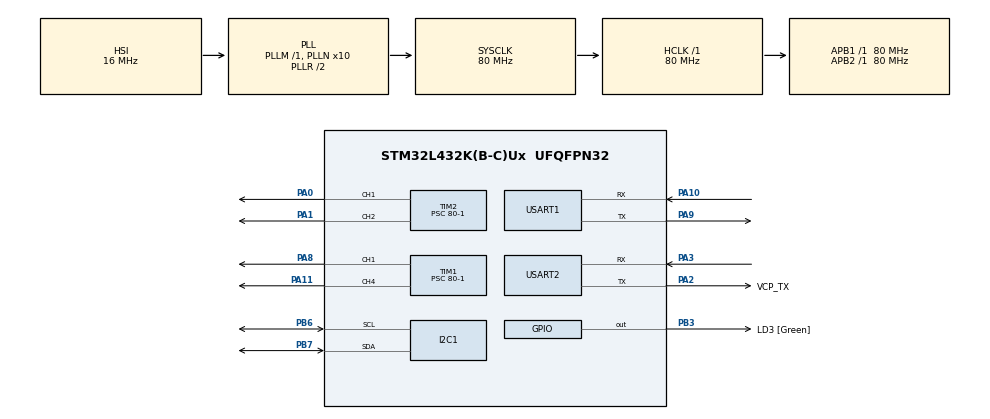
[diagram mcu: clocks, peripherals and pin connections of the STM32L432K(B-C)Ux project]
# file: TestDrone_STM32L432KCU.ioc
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I2C1.Timing=0x10D19CE4
Mcu.Family=STM32L4
Mcu.Name=STM32L432K(B-C)Ux
Mcu.Package=UFQFPN32
NVIC.PriorityGroup=NVIC_PRIORITYGROUP_4
NVIC.TIM6_DAC_IRQn=true\:15\:0\:false\:false\:true\:false\:true\:true
NVIC.TimeBase=TIM6_DAC_IRQn
NVIC.TimeBaseIP=TIM6
NVIC.USART1_IRQn=true\:1\:0\:true\:false\:true\:true\:true\:true
NVIC.USART2_IRQn=true\:0\:0\:false\:false\:true\:true\:true\:true
PA0.Signal=S_TIM2_CH1
PA1.Signal=S_TIM2_CH2
PA10.Mode=Asynchronous
PA10.Signal=USART1_RX
PA11.Signal=S_TIM1_CH4
PA13\ (JTMS-SWDIO).GPIO_Label=SWDIO
PA13\ (JTMS-SWDIO).Mode=Serial_Wire
PA13\ (JTMS-SWDIO).Signal=SYS_JTMS-SWDIO
PA14\ (JTCK-SWCLK).GPIO_Label=SWCLK
PA14\ (JTCK-SWCLK).Mode=Serial_Wire
PA14\ (JTCK-SWCLK).Signal=SYS_JTCK-SWCLK
PA2.GPIO_Label=VCP_TX
PA2.Mode=Asynchronous
PA2.Signal=USART2_TX
PA3.Mode=Asynchronous
PA3.Signal=USART2_RX
PA8.Signal=S_TIM1_CH1
PA9.Mode=Asynchronous
PA9.Signal=USART1_TX
PB3\ (JTDO-TRACESWO).GPIO_Label=LD3 [Green]
PB3\ (JTDO-TRACESWO).Signal=GPIO_Output
PB6.Mode=I2C
PB6.Signal=I2C1_SCL
PB7.Mode=I2C
PB7.Signal=I2C1_SDA
PC14-OSC32_IN\ (PC14).Signal=RCC_OSC32_IN
PC15-OSC32_OUT\ (PC15).Signal=RCC_OSC32_OUT
ProjectManager.HeapSize=0x200
ProjectManager.StackSize=0x400
ProjectManager.TargetToolchain=STM32CubeIDE
RCC.ADCFreq_Value=64000000
RCC.AHBFreq_Value=80000000
RCC.APB1Freq_Value=80000000
RCC.APB1TimFreq_Value=80000000
RCC.APB2Freq_Value=80000000
RCC.APB2TimFreq_Value=80000000
RCC.CortexFreq_Value=80000000
RCC.HCLKFreq_Value=80000000
RCC.HSE_VALUE=8000000
RCC.HSI16_VALUE=16000000
RCC.HSI48_VALUE=48000000
RCC.HSI_VALUE=16000000
RCC.LSE_VALUE=32768
RCC.MSI_VALUE=4000000
RCC.PLLMUL=RCC_PLLMUL_4
RCC.PLLN=10
RCC.PLLSourceVirtual=RCC_PLLSOURCE_HSI
RCC.SYSCLKFreq_VALUE=80000000
RCC.SYSCLKSource=RCC_SYSCLKSOURCE_PLLCLK
RCC.USBFreq_Value=64000000
RCC.VCOOutputFreq_Value=160000000
SH.S_TIM1_CH1.0=TIM1_CH1,PWM Generation1 CH1
SH.S_TIM1_CH4.0=TIM1_CH4,PWM Generation4 CH4
SH.S_TIM2_CH1.0=TIM2_CH1,PWM Generation1 CH1
SH.S_TIM2_CH2.0=TIM2_CH2,PWM Generation2 CH2
TIM1.Channel-PWM\ Generation1\ CH1=TIM_CHANNEL_1
TIM1.Channel-PWM\ Generation4\ CH4=TIM_CHANNEL_4
TIM1.Period=20000-1
TIM1.Prescaler=80-1
TIM2.Channel-PWM\ Generation1\ CH1=TIM_CHANNEL_1
TIM2.Channel-PWM\ Generation2\ CH2=TIM_CHANNEL_2
TIM2.Period=20000-1
TIM2.Prescaler=80-1
USART1.VirtualMode-Asynchronous=VM_ASYNC
USART2.VirtualMode-Asynchronous=VM_ASYNC
VP_SYS_VS_tim6.Mode=TIM6
VP_TIM1_VS_ClockSourceINT.Mode=Internal
VP_TIM2_VS_ClockSourceINT.Mode=Internal
board=NUCLEO-L432KC

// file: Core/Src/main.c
/* USER CODE BEGIN Header */
/**
 ******************************************************************************
 * @file           : main.c
 * @brief          : Main program body
 ******************************************************************************
 * @attention
 *
 * Copyright (c) 2025 STMicroelectronics.
 * All rights reserved.
 *
 * This software is licensed under terms that can be found in the LICENSE file
 * in the root directory of this software component.
 * If no LICENSE file comes with this software, it is provided AS-IS.
 *
 ******************************************************************************
 */
/* USER CODE END Header */
#include "main.h"

/* USER CODE BEGIN Includes */
#include "MPU6050.h"
#include "LowPassFilter.h"
#include "KalmanRollPitch.h"
#include "PIController.h"
#include "defines.h"
#include "PWMCTRL.h"
/* USER CODE END Includes */

I2C_HandleTypeDef hi2c1;

TIM_HandleTypeDef htim1;
TIM_HandleTypeDef htim2;

UART_HandleTypeDef huart1;
UART_HandleTypeDef huart2;

/* USER CODE BEGIN PV */

/* Peripherals */
MPU6050_t mpu6050;

/* Filters
 /* Low-pass filters */
LPFTwoPole lpf_acc_x, lpf_acc_y, lpf_acc_z;
LPFTwoPole lpf_gyr_x, lpf_gyr_y, lpf_gyr_z;

/* State estimation */
KalmanRollPitch ekf;

/* Controllers */
PIController ctrl_roll;
PIController ctrl_pitch;

/* ESC/Motor control */

ESC_CONF motors;
volatile uint8_t motors_armed = 0;  // Safety flag

/* Timing variables */
uint32_t time_now = 0;
uint32_t time_prev_loop = 0;
uint32_t time_prev_led = 0;

/* --- Sensor Data --- */
float acc_raw[3] = { 0 };
float acc_filtered[3] = { 0 };
float gyr_raw[3] = { 0 };
float gyr_filtered[3] = { 0 };

/* --- Angles & Control --- */
float roll_est = 0.0f;       // Estimated roll (rad)
float pitch_est = 0.0f;      // Estimated pitch (rad)

float roll_setpoint = 0.0f;  // Desired roll (rad)
float pitch_setpoint = 0.0f;

float ctrl_roll_output = 0.0f;
float ctrl_pitch_output = 0.0f;

/* --- Commands (UART/Bluetooth/Zigbee) --- */

/* (Pilot) */
#define CMD_BUFFER_SIZE 10
char cmd_buffer[CMD_BUFFER_SIZE];  // Buffer to store incoming command characters
uint8_t cmd_index = 0;             // Index to keep track of buffer position

volatile int16_t throttle_cmd = 0;
volatile uint8_t rx_pilot_byte;       // Byte received from Phone/PC
volatile float target_pitch = 0.0f;   // Desired Pitch Angle (Radians)
volatile float target_roll = 0.0f;    // Desired Roll Angle (Radians)

/* Zigbee (Agri Sensor) */
#define ZIGBEE_BUFFER_SIZE 128
volatile uint8_t rx_zigbee_byte;      // Byte received from Sensor
char zigbee_buffer[ZIGBEE_BUFFER_SIZE];      // Buffer to store the full message
volatile uint8_t zigbee_idx = 0;      // Buffer index
volatile uint8_t zigbee_msg_ready = 0;

/* USER CODE END PV */

void SystemClock_Config(void);
static void MX_GPIO_Init(void);
static void MX_I2C1_Init(void);
static void MX_TIM1_Init(void);
static void MX_USART2_UART_Init(void);
static void MX_TIM2_Init(void);
static void MX_USART1_UART_Init(void);
/* USER CODE BEGIN PFP */

void Modules_Init(void);        // Initialize all sensors and libraries
void Process_Loop_100Hz(void);  // Main Flight Control Algorithm
void Debug_Print(void);         // Send Telemetry via UART
void Send_Web_Log(void);

/* USER CODE END PFP */

int main(void)
{

  /* MCU Configuration--------------------------------------------------------*/

  /* Reset of all peripherals, Initializes the Flash interface and the Systick. */
  HAL_Init();

  /* Configure the system clock */
  SystemClock_Config();

  /* Initialize all configured peripherals */
  MX_GPIO_Init();
  MX_I2C1_Init();
  MX_TIM1_Init();
  MX_USART2_UART_Init();
  MX_TIM2_Init();
  MX_USART1_UART_Init();
  /* USER CODE BEGIN 2 */
	printf("\r\n==================================\r\n");
	printf("   STM32 FLIGHT CONTROLLER V1.0   \r\n");
	printf("==================================\r\n");

	// Wait for sensors to power up fully
	HAL_Delay(500);

	/* Initialize Flight Modules */
	Modules_Init();
	/* Initialize Motors */
	ESC_Init(&motors);

	// WARNING: Calibration generates high PWM. Only use when needed.(First time !)
	//ESC_Calibrate(&motors);

	printf("System Ready. Waiting for ARM command ('A')...\r\n");

	/* Start listening */
	HAL_UART_Receive_IT(&huart2, (uint8_t*) &rx_pilot_byte, 1);  // Pilot (BLE)
	HAL_UART_Receive_IT(&huart1, (uint8_t*) &rx_zigbee_byte, 1); // Zigbee

	/* Reset Timing Counters */
	time_prev_loop = HAL_GetTick();
	time_prev_led = HAL_GetTick();
  /* USER CODE END 2 */

  /* Infinite loop */
  /* USER CODE BEGIN WHILE */
	while (1) {
		/* USER CODE BEGIN 3 */
		/* Forward the raw data received to Raspberry Pi (UART2)
		 (Expected format for Raspberry Pi: "CH1=%d CH2=%d CH3=%d Temp_DS1621=%.2f C\n")
		 */
		if (zigbee_msg_ready) {

			zigbee_msg_ready = 0;

			char local_copy[ZIGBEE_BUFFER_SIZE];
			strcpy(local_copy, zigbee_buffer);
			zigbee_idx = 0;

			HAL_UART_Transmit(&huart2, (uint8_t*) local_copy,
					strlen(local_copy), 100);
		}
		time_now = HAL_GetTick();
		//--- CONTROL LOOP (100Hz / 10ms) ---  0R 4ms TESTED!!!
		if (time_now - time_prev_loop >= SAMPLE_TIME_CTRL_MS) {
			time_prev_loop = time_now;
			Process_Loop_100Hz();
		}

		// TELEMETRY LOOP (1Hz / 1000ms): SAMPLE_TIME_LED_MS / or (5Hz / 200ms):TELEMETRY_DELAY_MS
		if (time_now - time_prev_led >= TELEMETRY_DELAY_MS) {
			time_prev_led = time_now;
			// Blink LED to indicate "Alive"*******************************VERIFY THIS
			HAL_GPIO_TogglePin(LD3_GPIO_Port, LD3_Pin);
			//Debug_Print();
			Send_Web_Log();
		}
		/* USER CODE END 3 */
	}
    /* USER CODE END WHILE */

}

void SystemClock_Config(void)
{
  RCC_OscInitTypeDef RCC_OscInitStruct = {0};
  RCC_ClkInitTypeDef RCC_ClkInitStruct = {0};

  /** Configure the main internal regulator output voltage
  */
  if (HAL_PWREx_ControlVoltageScaling(PWR_REGULATOR_VOLTAGE_SCALE1) != HAL_OK)
  {
    Error_Handler();
  }

  /** Initializes the RCC Oscillators according to the specified parameters
  * in the RCC_OscInitTypeDef structure.
  */
  RCC_OscInitStruct.OscillatorType = RCC_OSCILLATORTYPE_HSI;
  RCC_OscInitStruct.HSIState = RCC_HSI_ON;
  RCC_OscInitStruct.HSICalibrationValue = RCC_HSICALIBRATION_DEFAULT;
  RCC_OscInitStruct.PLL.PLLState = RCC_PLL_ON;
  RCC_OscInitStruct.PLL.PLLSource = RCC_PLLSOURCE_HSI;
  RCC_OscInitStruct.PLL.PLLM = 1;
  RCC_OscInitStruct.PLL.PLLN = 10;
  RCC_OscInitStruct.PLL.PLLP = RCC_PLLP_DIV7;
  RCC_OscInitStruct.PLL.PLLQ = RCC_PLLQ_DIV2;
  RCC_OscInitStruct.PLL.PLLR = RCC_PLLR_DIV2;
  if (HAL_RCC_OscConfig(&RCC_OscInitStruct) != HAL_OK)
  {
    Error_Handler();
  }

  /** Initializes the CPU, AHB and APB buses clocks
  */
  RCC_ClkInitStruct.ClockType = RCC_CLOCKTYPE_HCLK|RCC_CLOCKTYPE_SYSCLK
                              |RCC_CLOCKTYPE_PCLK1|RCC_CLOCKTYPE_PCLK2;
  RCC_ClkInitStruct.SYSCLKSource = RCC_SYSCLKSOURCE_PLLCLK;
  RCC_ClkInitStruct.AHBCLKDivider = RCC_SYSCLK_DIV1;
  RCC_ClkInitStruct.APB1CLKDivider = RCC_HCLK_DIV1;
  RCC_ClkInitStruct.APB2CLKDivider = RCC_HCLK_DIV1;

  if (HAL_RCC_ClockConfig(&RCC_ClkInitStruct, FLASH_LATENCY_4) != HAL_OK)
  {
    Error_Handler();
  }
}

static void MX_I2C1_Init(void)
{

  hi2c1.Instance = I2C1;
  hi2c1.Init.Timing = 0x10D19CE4;
  hi2c1.Init.OwnAddress1 = 0;
  hi2c1.Init.AddressingMode = I2C_ADDRESSINGMODE_7BIT;
  hi2c1.Init.DualAddressMode = I2C_DUALADDRESS_DISABLE;
  hi2c1.Init.OwnAddress2 = 0;
  hi2c1.Init.OwnAddress2Masks = I2C_OA2_NOMASK;
  hi2c1.Init.GeneralCallMode = I2C_GENERALCALL_DISABLE;
  hi2c1.Init.NoStretchMode = I2C_NOSTRETCH_DISABLE;
  if (HAL_I2C_Init(&hi2c1) != HAL_OK)
  {
    Error_Handler();
  }

  /** Configure Analogue filter
  */
  if (HAL_I2CEx_ConfigAnalogFilter(&hi2c1, I2C_ANALOGFILTER_ENABLE) != HAL_OK)
  {
    Error_Handler();
  }

  /** Configure Digital filter
  */
  if (HAL_I2CEx_ConfigDigitalFilter(&hi2c1, 0) != HAL_OK)
  {
    Error_Handler();
  }

}

static void MX_TIM1_Init(void)
{

  TIM_ClockConfigTypeDef sClockSourceConfig = {0};
  TIM_MasterConfigTypeDef sMasterConfig = {0};
  TIM_OC_InitTypeDef sConfigOC = {0};
  TIM_BreakDeadTimeConfigTypeDef sBreakDeadTimeConfig = {0};

  htim1.Instance = TIM1;
  htim1.Init.Prescaler = 80-1;
  htim1.Init.CounterMode = TIM_COUNTERMODE_UP;
  htim1.Init.Period = 20000-1;
  htim1.Init.ClockDivision = TIM_CLOCKDIVISION_DIV1;
  htim1.Init.RepetitionCounter = 0;
  htim1.Init.AutoReloadPreload = TIM_AUTORELOAD_PRELOAD_DISABLE;
  if (HAL_TIM_Base_Init(&htim1) != HAL_OK)
  {
    Error_Handler();
  }
  sClockSourceConfig.ClockSource = TIM_CLOCKSOURCE_INTERNAL;
  if (HAL_TIM_ConfigClockSource(&htim1, &sClockSourceConfig) != HAL_OK)
  {
    Error_Handler();
  }
  if (HAL_TIM_PWM_Init(&htim1) != HAL_OK)
  {
    Error_Handler();
  }
  sMasterConfig.MasterOutputTrigger = TIM_TRGO_RESET;
  sMasterConfig.MasterOutputTrigger2 = TIM_TRGO2_RESET;
  sMasterConfig.MasterSlaveMode = TIM_MASTERSLAVEMODE_DISABLE;
  if (HAL_TIMEx_MasterConfigSynchronization(&htim1, &sMasterConfig) != HAL_OK)
  {
    Error_Handler();
  }
  sConfigOC.OCMode = TIM_OCMODE_PWM1;
  sConfigOC.Pulse = 0;
  sConfigOC.OCPolarity = TIM_OCPOLARITY_HIGH;
  sConfigOC.OCNPolarity = TIM_OCNPOLARITY_HIGH;
  sConfigOC.OCFastMode = TIM_OCFAST_DISABLE;
  sConfigOC.OCIdleState = TIM_OCIDLESTATE_RESET;
  sConfigOC.OCNIdleState = TIM_OCNIDLESTATE_RESET;
  if (HAL_TIM_PWM_ConfigChannel(&htim1, &sConfigOC, TIM_CHANNEL_1) != HAL_OK)
  {
    Error_Handler();
  }
  if (HAL_TIM_PWM_ConfigChannel(&htim1, &sConfigOC, TIM_CHANNEL_4) != HAL_OK)
  {
    Error_Handler();
  }
  sBreakDeadTimeConfig.OffStateRunMode = TIM_OSSR_DISABLE;
  sBreakDeadTimeConfig.OffStateIDLEMode = TIM_OSSI_DISABLE;
  sBreakDeadTimeConfig.LockLevel = TIM_LOCKLEVEL_OFF;
  sBreakDeadTimeConfig.DeadTime = 0;
  sBreakDeadTimeConfig.BreakState = TIM_BREAK_DISABLE;
  sBreakDeadTimeConfig.BreakPolarity = TIM_BREAKPOLARITY_HIGH;
  sBreakDeadTimeConfig.BreakFilter = 0;
  sBreakDeadTimeConfig.Break2State = TIM_BREAK2_DISABLE;
  sBreakDeadTimeConfig.Break2Polarity = TIM_BREAK2POLARITY_HIGH;
  sBreakDeadTimeConfig.Break2Filter = 0;
  sBreakDeadTimeConfig.AutomaticOutput = TIM_AUTOMATICOUTPUT_DISABLE;
  if (HAL_TIMEx_ConfigBreakDeadTime(&htim1, &sBreakDeadTimeConfig) != HAL_OK)
  {
    Error_Handler();
  }
  HAL_TIM_MspPostInit(&htim1);

}

static void MX_TIM2_Init(void)
{

  TIM_ClockConfigTypeDef sClockSourceConfig = {0};
  TIM_MasterConfigTypeDef sMasterConfig = {0};
  TIM_OC_InitTypeDef sConfigOC = {0};

  htim2.Instance = TIM2;
  htim2.Init.Prescaler = 80-1;
  htim2.Init.CounterMode = TIM_COUNTERMODE_UP;
  htim2.Init.Period = 20000-1;
  htim2.Init.ClockDivision = TIM_CLOCKDIVISION_DIV1;
  htim2.Init.AutoReloadPreload = TIM_AUTORELOAD_PRELOAD_DISABLE;
  if (HAL_TIM_Base_Init(&htim2) != HAL_OK)
  {
    Error_Handler();
  }
  sClockSourceConfig.ClockSource = TIM_CLOCKSOURCE_INTERNAL;
  if (HAL_TIM_ConfigClockSource(&htim2, &sClockSourceConfig) != HAL_OK)
  {
    Error_Handler();
  }
  if (HAL_TIM_PWM_Init(&htim2) != HAL_OK)
  {
    Error_Handler();
  }
  sMasterConfig.MasterOutputTrigger = TIM_TRGO_RESET;
  sMasterConfig.MasterSlaveMode = TIM_MASTERSLAVEMODE_DISABLE;
  if (HAL_TIMEx_MasterConfigSynchronization(&htim2, &sMasterConfig) != HAL_OK)
  {
    Error_Handler();
  }
  sConfigOC.OCMode = TIM_OCMODE_PWM1;
  sConfigOC.Pulse = 0;
  sConfigOC.OCPolarity = TIM_OCPOLARITY_HIGH;
  sConfigOC.OCFastMode = TIM_OCFAST_DISABLE;
  if (HAL_TIM_PWM_ConfigChannel(&htim2, &sConfigOC, TIM_CHANNEL_1) != HAL_OK)
  {
    Error_Handler();
  }
  if (HAL_TIM_PWM_ConfigChannel(&htim2, &sConfigOC, TIM_CHANNEL_2) != HAL_OK)
  {
    Error_Handler();
  }
  HAL_TIM_MspPostInit(&htim2);

}

static void MX_USART1_UART_Init(void)
{

  huart1.Instance = USART1;
  huart1.Init.BaudRate = 115200;
  huart1.Init.WordLength = UART_WORDLENGTH_8B;
  huart1.Init.StopBits = UART_STOPBITS_1;
  huart1.Init.Parity = UART_PARITY_NONE;
  huart1.Init.Mode = UART_MODE_TX_RX;
  huart1.Init.HwFlowCtl = UART_HWCONTROL_NONE;
  huart1.Init.OverSampling = UART_OVERSAMPLING_16;
  huart1.Init.OneBitSampling = UART_ONE_BIT_SAMPLE_DISABLE;
  huart1.AdvancedInit.AdvFeatureInit = UART_ADVFEATURE_NO_INIT;
  if (HAL_UART_Init(&huart1) != HAL_OK)
  {
    Error_Handler();
  }

}

static void MX_USART2_UART_Init(void)
{

  huart2.Instance = USART2;
  huart2.Init.BaudRate = 115200;
  huart2.Init.WordLength = UART_WORDLENGTH_8B;
  huart2.Init.StopBits = UART_STOPBITS_1;
  huart2.Init.Parity = UART_PARITY_NONE;
  huart2.Init.Mode = UART_MODE_TX_RX;
  huart2.Init.HwFlowCtl = UART_HWCONTROL_NONE;
  huart2.Init.OverSampling = UART_OVERSAMPLING_16;
  huart2.Init.OneBitSampling = UART_ONE_BIT_SAMPLE_DISABLE;
  huart2.AdvancedInit.AdvFeatureInit = UART_ADVFEATURE_NO_INIT;
  if (HAL_UART_Init(&huart2) != HAL_OK)
  {
    Error_Handler();
  }

}

static void MX_GPIO_Init(void)
{
  GPIO_InitTypeDef GPIO_InitStruct = {0};

  /* GPIO Ports Clock Enable */
  __HAL_RCC_GPIOC_CLK_ENABLE();
  __HAL_RCC_GPIOA_CLK_ENABLE();
  __HAL_RCC_GPIOB_CLK_ENABLE();

  /*Configure GPIO pin Output Level */
  HAL_GPIO_WritePin(LD3_GPIO_Port, LD3_Pin, GPIO_PIN_RESET);

  /*Configure GPIO pin : LD3_Pin */
  GPIO_InitStruct.Pin = LD3_Pin;
  GPIO_InitStruct.Mode = GPIO_MODE_OUTPUT_PP;
  GPIO_InitStruct.Pull = GPIO_NOPULL;
  GPIO_InitStruct.Speed = GPIO_SPEED_FREQ_LOW;
  HAL_GPIO_Init(LD3_GPIO_Port, &GPIO_InitStruct);

}

/* USER CODE BEGIN 4 */
/* USER CODE BEGIN 5 */
void Modules_Init(void) {
	// Initialize MPU6050
	if (MPU6050_Init(&hi2c1) == 0) {
		printf("MPU6050: OK\r\n");
	} else {
		printf("MPU6050: FAILED! Checking connections...\r\n");
		Error_Handler(); // Stop here if sensor fails
	}

	// Initialize Low Pass Filters
	// Accel Cutoff: 10Hz | Gyro Cutoff: 30Hz | Loop Time: 0.01s
	float dt = SAMPLE_TIME_CTRL_MS / 1000.0f;

	LPFTwoPole_Init(&lpf_acc_x, LPF_TYPE_BESSEL, LPF_ACC_CUTOFF_HZ, dt);
	LPFTwoPole_Init(&lpf_acc_y, LPF_TYPE_BESSEL, LPF_ACC_CUTOFF_HZ, dt);
	LPFTwoPole_Init(&lpf_acc_z, LPF_TYPE_BESSEL, LPF_ACC_CUTOFF_HZ, dt);

	LPFTwoPole_Init(&lpf_gyr_x, LPF_TYPE_BESSEL, LPF_GYR_CUTOFF_HZ, dt);
	LPFTwoPole_Init(&lpf_gyr_y, LPF_TYPE_BESSEL, LPF_GYR_CUTOFF_HZ, dt);
	LPFTwoPole_Init(&lpf_gyr_z, LPF_TYPE_BESSEL, LPF_GYR_CUTOFF_HZ, dt);

	// Initialize Kalman Filter
	float Q[2] = { EKF_N_GYR, EKF_N_GYR };
	float R[3] = { EKF_N_ACC, EKF_N_ACC, EKF_N_ACC };
	KalmanRollPitch_Init(&ekf, EKF_P_INIT, Q, R);

	// Initialize PID Controllers
	PI_Init(&ctrl_roll, CTRL_ROLL_P, CTRL_ROLL_I, CTRL_ROLL_LIM_MIN,
	CTRL_ROLL_LIM_MAX);
	PI_Init(&ctrl_pitch, CTRL_PITCH_P, CTRL_PITCH_I, CTRL_PITCH_LIM_MIN,
	CTRL_PITCH_LIM_MAX);

	printf("Modules Initialized.\r\n");
}

/**
 * @brief Main Flight Control Loop (Running at 100Hz)
 * Reads sensors, updates Kalman, runs PID, mixes motors.
 */
void Process_Loop_100Hz(void) {

	// SENSOR READ ---
	MPU6050_Read_Accel(&hi2c1, &mpu6050);
	MPU6050_Read_Gyro(&hi2c1, &mpu6050);

	// PRE-PROCESSING (Filtering & Conversion) ---

	// Accelerometer: Convert raw to m/s^2 (Standard Gravity = 9.81)
	acc_raw[0] = ((mpu6050.Ax - CALIB_ACC_BIAS_X) * CALIB_ACC_SCALE_X) * 9.81f;
	acc_raw[1] = ((mpu6050.Ay - CALIB_ACC_BIAS_Y) * CALIB_ACC_SCALE_Y) * 9.81f;
	acc_raw[2] = ((mpu6050.Az - CALIB_ACC_BIAS_Z) * CALIB_ACC_SCALE_Z) * 9.81f;

	acc_filtered[0] = LPFTwoPole_Update(&lpf_acc_x, acc_raw[0]);
	acc_filtered[1] = LPFTwoPole_Update(&lpf_acc_y, acc_raw[1]);
	acc_filtered[2] = LPFTwoPole_Update(&lpf_acc_z, acc_raw[2]);

	// Gyroscope: Convert Degrees/s to Radians/s
	gyr_raw[0] = mpu6050.Gx * DEG_TO_RAD;
	gyr_raw[1] = mpu6050.Gy * DEG_TO_RAD;
	gyr_raw[2] = mpu6050.Gz * DEG_TO_RAD;

	gyr_filtered[0] = LPFTwoPole_Update(&lpf_gyr_x, gyr_raw[0]);
	gyr_filtered[1] = LPFTwoPole_Update(&lpf_gyr_y, gyr_raw[1]);
	gyr_filtered[2] = LPFTwoPole_Update(&lpf_gyr_z, gyr_raw[2]);

	// ATTITUDE ESTIMATION (Kalman Filter) ---
	float dt = SAMPLE_TIME_CTRL_MS / 1000.0f; // dt = 0.01s

	// Prediction Step (Gyro Integration)
	KalmanRollPitch_Predict(&ekf, gyr_filtered, dt);

	// Update Step (Accelerometer Correction)
	// Va = 0.0f because we are hovering (no airspeed)
	KalmanRollPitch_Update(&ekf, acc_filtered, 0.0f);

	roll_est = ekf.phi;   // Current Roll (Rad)
	pitch_est = ekf.theta; // Current Pitch (Rad)

	// FLIGHT CONTROL (PID) ---

	/*// Setpoints: 0.0 means "Stay Flat"
	//roll_setpoint = 0.0f;
	//pitch_setpoint = 0.0f;*/

	// Apply the setpoints received from Bluetooth
	roll_setpoint  = target_roll;
	pitch_setpoint = target_pitch;

	ctrl_roll_output = PI_Update(&ctrl_roll, roll_setpoint, roll_est, dt);
	ctrl_pitch_output = PI_Update(&ctrl_pitch, pitch_setpoint, pitch_est, dt);

	// MOTOR MIXING & SAFETY ---

	// Convert radians to degrees for safety check
	float roll_deg = roll_est * RAD_TO_DEG;
	float pitch_deg = pitch_est * RAD_TO_DEG;

	// Safety: Emergency Stop if tilted > 45 degrees
	if (!ESC_SafetyCheck(&motors, roll_deg, pitch_deg)) {
		motors_armed = 0;
		throttle_cmd = 0;
	}

	// If Armed, calculate and send PWM
	if (motors_armed) {
		// Mix throttle and PID corrections to 4 motors
		// Yaw correction is set to 0.0f for now (handled by user manually if needed)
		ESC_UpdateCommands(&motors, throttle_cmd, ctrl_roll_output,
				ctrl_pitch_output, 0.0f);
	} else {
		// Ensure motors are OFF if not armed
		ESC_Disarm(&motors);
	}

	// Apply calculated PWM to hardware timers
	ESC_SetSpeed(&motors);
}

/**
 * @brief Prints Telemetry Data to UART
 * Called every 1 second.
 */
void Debug_Print(void)
{
    printf("\r\n===== SENSOR DATA =====\r\n");

    printf("ACC RAW en g :      X=%.2f  Y=%.2f  Z=%.2f g\r\n",
    		mpu6050.Ax, mpu6050.Ay, mpu6050.Az);
    printf("ACC RAW+Calib en m/s² : X=%.2f  Y=%.2f  Z=%.2f m/s²\r\n",
    		acc_raw[0], acc_raw[1], acc_raw[2]);
    printf("ACC FILTERED: X=%.2f  Y=%.2f  Z=%.2f m/s²\r\n",
           acc_filtered[0], acc_filtered[1], acc_filtered[2]);

    printf("GYR RAW en d/s :      X=%.2f  Y=%.2f  Z=%.2f d/s\r\n",
    		mpu6050.Gx, mpu6050.Gy, mpu6050.Gz);
    printf("GYR RAW en rad/s : X=%.2f  Y=%.2f  Z=%.2f rad/s\r\n",
        		gyr_raw[0], gyr_raw[1], gyr_raw[2]);
    printf("GYR FILTERED: X=%.2f  Y=%.2f  Z=%.2f rad/s\r\n",
           gyr_filtered[0], gyr_filtered[1], gyr_filtered[2]);

    printf("\r\n===== KALMAN ESTIMATES =====\r\n");
    printf("Roll:  %.2f°  |  Pitch: %.2f°\r\n",
           roll_est * RAD_TO_DEG,
           pitch_est * RAD_TO_DEG);

    printf("\r\n===== CONTROLLER OUTPUTS =====\r\n");
    printf("Ctrl_Roll:  %.2f  |  Ctrl_Pitch: %.2f\r\n",
           ctrl_roll_output,
           ctrl_pitch_output);

    printf("\r\n===== MOTOR COMMANDS =====\r\n");
    printf("FR: %4d  FL: %4d  RR: %4d  RL: %4d  [%s]\r\n",
               motors.FR, motors.FL, motors.RR, motors.RL,
               motors_armed ? "ARMED" : "DISARMED");
    printf("PWM RANGE: [%d - %d]\r\n", PWM_MIN_US, PWM_MAX_US);

    printf("===============================\r\n\r\n");
}
void Send_Web_Log(void)
{
    char web_msg[256];
    // Format : LOG: [Roll/Pitch] [Motors] [Status]
    sprintf(web_msg, "LOG: ATT: R%.1f P%.1f | MOT: FR:%d FL:%d RR:%d RL:%d | %s\r\n",
            roll_est * RAD_TO_DEG,
            pitch_est * RAD_TO_DEG,
            motors.FR, motors.FL, motors.RR, motors.RL,
            motors_armed ? "ARMED" : "DISARMED");

    // Raspberry Pi (USART2)
    HAL_UART_Transmit(&huart2, (uint8_t*)web_msg, strlen(web_msg), 10);
}

/*void Debug_Print(void) {
	// Print essential data
	// TH: Throttle | R: Roll Angle | P: Pitch Angle | Motors: FR FL RR RL
	printf("TH: %d | Roll: %.1f | Pitch: %.1f | Motors: %d %d %d %d | %s\r\n",
			throttle_cmd, roll_est * RAD_TO_DEG, pitch_est * RAD_TO_DEG,
			motors.FR, motors.FL, motors.RR, motors.RL,
			motors_armed ? "ARMED" : "SAFE");
}*/
void process_command(char *cmd) {
    if(strcmp(cmd, "A") == 0) {
    	motors_armed = 1;
    	ESC_Arm(&motors);
    }           // Arm motors
    else if(strcmp(cmd, "D") == 0) { motors_armed = 0; throttle_cmd = 0; ESC_Disarm(&motors); } // Disarm motors
    else if(strcmp(cmd, "+") == 0) { if (throttle_cmd + 50 <= MOTOR_SAFE_MAX) throttle_cmd += 50; } // Increase throttle
    else if(strcmp(cmd, "-") == 0) { if (throttle_cmd - 50 >= 0) throttle_cmd -= 50; }             // Decrease throttle
    else if(strcmp(cmd, "F") == 0) { target_pitch = -CMD_TILT_ANGLE; target_roll = 0; }             // Forward
    else if(strcmp(cmd, "B") == 0) { target_pitch = CMD_TILT_ANGLE; target_roll = 0; }              // Backward
    else if(strcmp(cmd, "L") == 0) { target_pitch = 0; target_roll = -CMD_TILT_ANGLE; }             // Left
    else if(strcmp(cmd, "R") == 0) { target_pitch = 0; target_roll = CMD_TILT_ANGLE; }              // Right
    else if(strcmp(cmd, "C") == 0) { target_pitch = 0; target_roll = 0; }                            // Center / hover
}
/* USER CODE END 5 */
void HAL_UART_RxCpltCallback(UART_HandleTypeDef *huart) {

	// --- PILOT CONTROL (Raspberry Pi -> STM32) ---
	if (huart->Instance == USART2) {
	    char c = rx_pilot_byte; // Received byte

	    if (c == '\n') { // End of command detected
	        cmd_buffer[cmd_index] = '\0'; // Null-terminate the string
	        process_command(cmd_buffer);  // Execute command (ARM, DISARM, F, B...)
	        cmd_index = 0;                // Reset for next command
	    }
	    else if (c != '\r') { // Ignore 'Carriage Return'
	        // Store character if there is space
	        if (cmd_index < CMD_BUFFER_SIZE - 1) {
	            cmd_buffer[cmd_index++] = c;
	        }
	    }

	    // Restart UART receive interrupt for next byte
	    HAL_UART_Receive_IT(&huart2, (uint8_t*)&rx_pilot_byte, 1);
	}

	// --- ZIGBEE LOGIC (USART1) ---
	else if (huart->Instance == USART1) {
		if (!zigbee_msg_ready) {
			if (zigbee_idx < ZIGBEE_BUFFER_SIZE - 1) {
				if (rx_zigbee_byte != '\r')  // Ignore CR
						{
					zigbee_buffer[zigbee_idx++] = rx_zigbee_byte;
				}

				if (rx_zigbee_byte == '\n') {
					zigbee_buffer[zigbee_idx] = '\0';
					zigbee_msg_ready = 1;
				}
			} else {
				zigbee_idx = 0; // Overflow
			}
		}

		HAL_UART_Receive_IT(&huart1, &rx_zigbee_byte, 1);
	}
}

/**
 * @brief Redirect printf to UART2
 * Allows using printf() for debugging over Bluetooth/USB.
 */
int _write(int file, char *ptr, int len) {
	HAL_UART_Transmit(&huart2, (uint8_t*) ptr, len, HAL_MAX_DELAY);
	return len;
}
/* USER CODE END 4 */

void HAL_TIM_PeriodElapsedCallback(TIM_HandleTypeDef *htim)
{
  if (htim->Instance == TIM6) {
    HAL_IncTick();
  }
}

void Error_Handler(void)
{
	__disable_irq();
	while (1) {
	}
}
